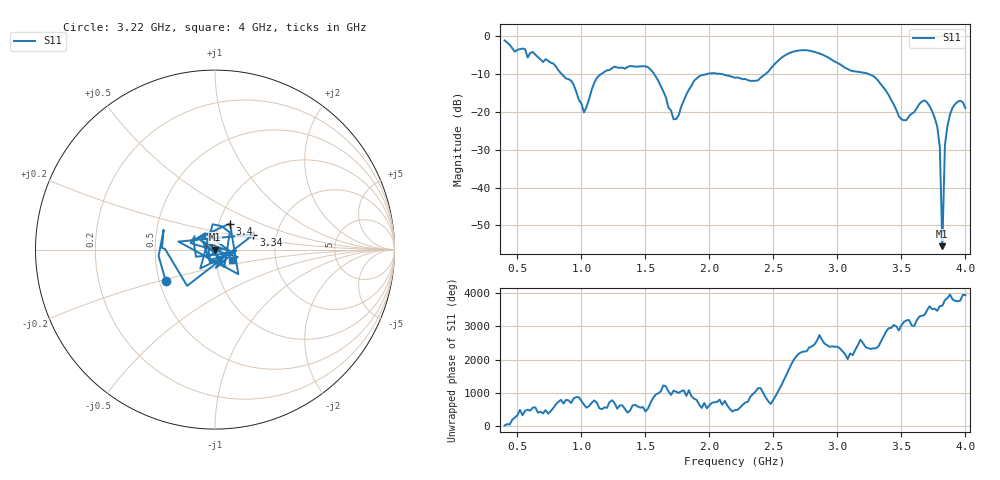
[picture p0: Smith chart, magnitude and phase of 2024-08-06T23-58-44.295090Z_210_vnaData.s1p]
!Created with skrf (http://scikit-rf.org).
# Hz S RI R 50.0
!freq ReS11 ImS11
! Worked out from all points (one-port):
!   181 points, 400 MHz to 4 GHz, reference 50 ohm
!   lowest |S11| = -55.5 dB at 3.82 GHz (marker M1), VSWR 1.00, Z = 50.2 + j0.036 ohm
!   |S11| at or under -10 dB: 1.567 GHz to 1.988 GHz (420.9 MHz wide, 23.7 % of centre); 2.087 GHz to 2.44 GHz (353.5 MHz wide, 15.6 % of centre); 3.24 GHz to end of sweep (the widest 3 of 4)
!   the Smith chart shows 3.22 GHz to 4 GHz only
!   S11 on the Smith chart (normalised r, x): 3.22 GHz: 0.54, -0.21; 3.34 GHz: 1.52, +0.27; 3.4 GHz: 1.13, +0.34; 4 GHz: 1.20, -0.14
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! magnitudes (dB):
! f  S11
! 400 MHz  -1.2
! 860 MHz  -10.6
! 940 MHz  -12.9
! 1.02 GHz  -20.2
! 1.12 GHz  -11.1
! 1.3 GHz  -8.4
! 1.52 GHz  -8.2
! 1.6 GHz  -11.8
! 1.72 GHz  -22.0
! 1.76 GHz  -20.9
! 1.92 GHz  -10.7
! 2.2 GHz  -11.0
! 2.38 GHz  -11.7
! 2.66 GHz  -4.1
! 3.1 GHz  -9.1
! 3.22 GHz  -9.8
! 3.34 GHz  -12.8
! 3.4 GHz  -15.6
! 3.5 GHz  -22.0
! 3.56 GHz  -21.1
! 3.68 GHz  -17.0
! 3.78 GHz  -23.9
! 3.8 GHz  -29.2
! 3.82 GHz  -55.5
! 3.84 GHz  -28.8
! 3.86 GHz  -23.7
! 3.94 GHz  -17.3
! 4 GHz  -19.1
